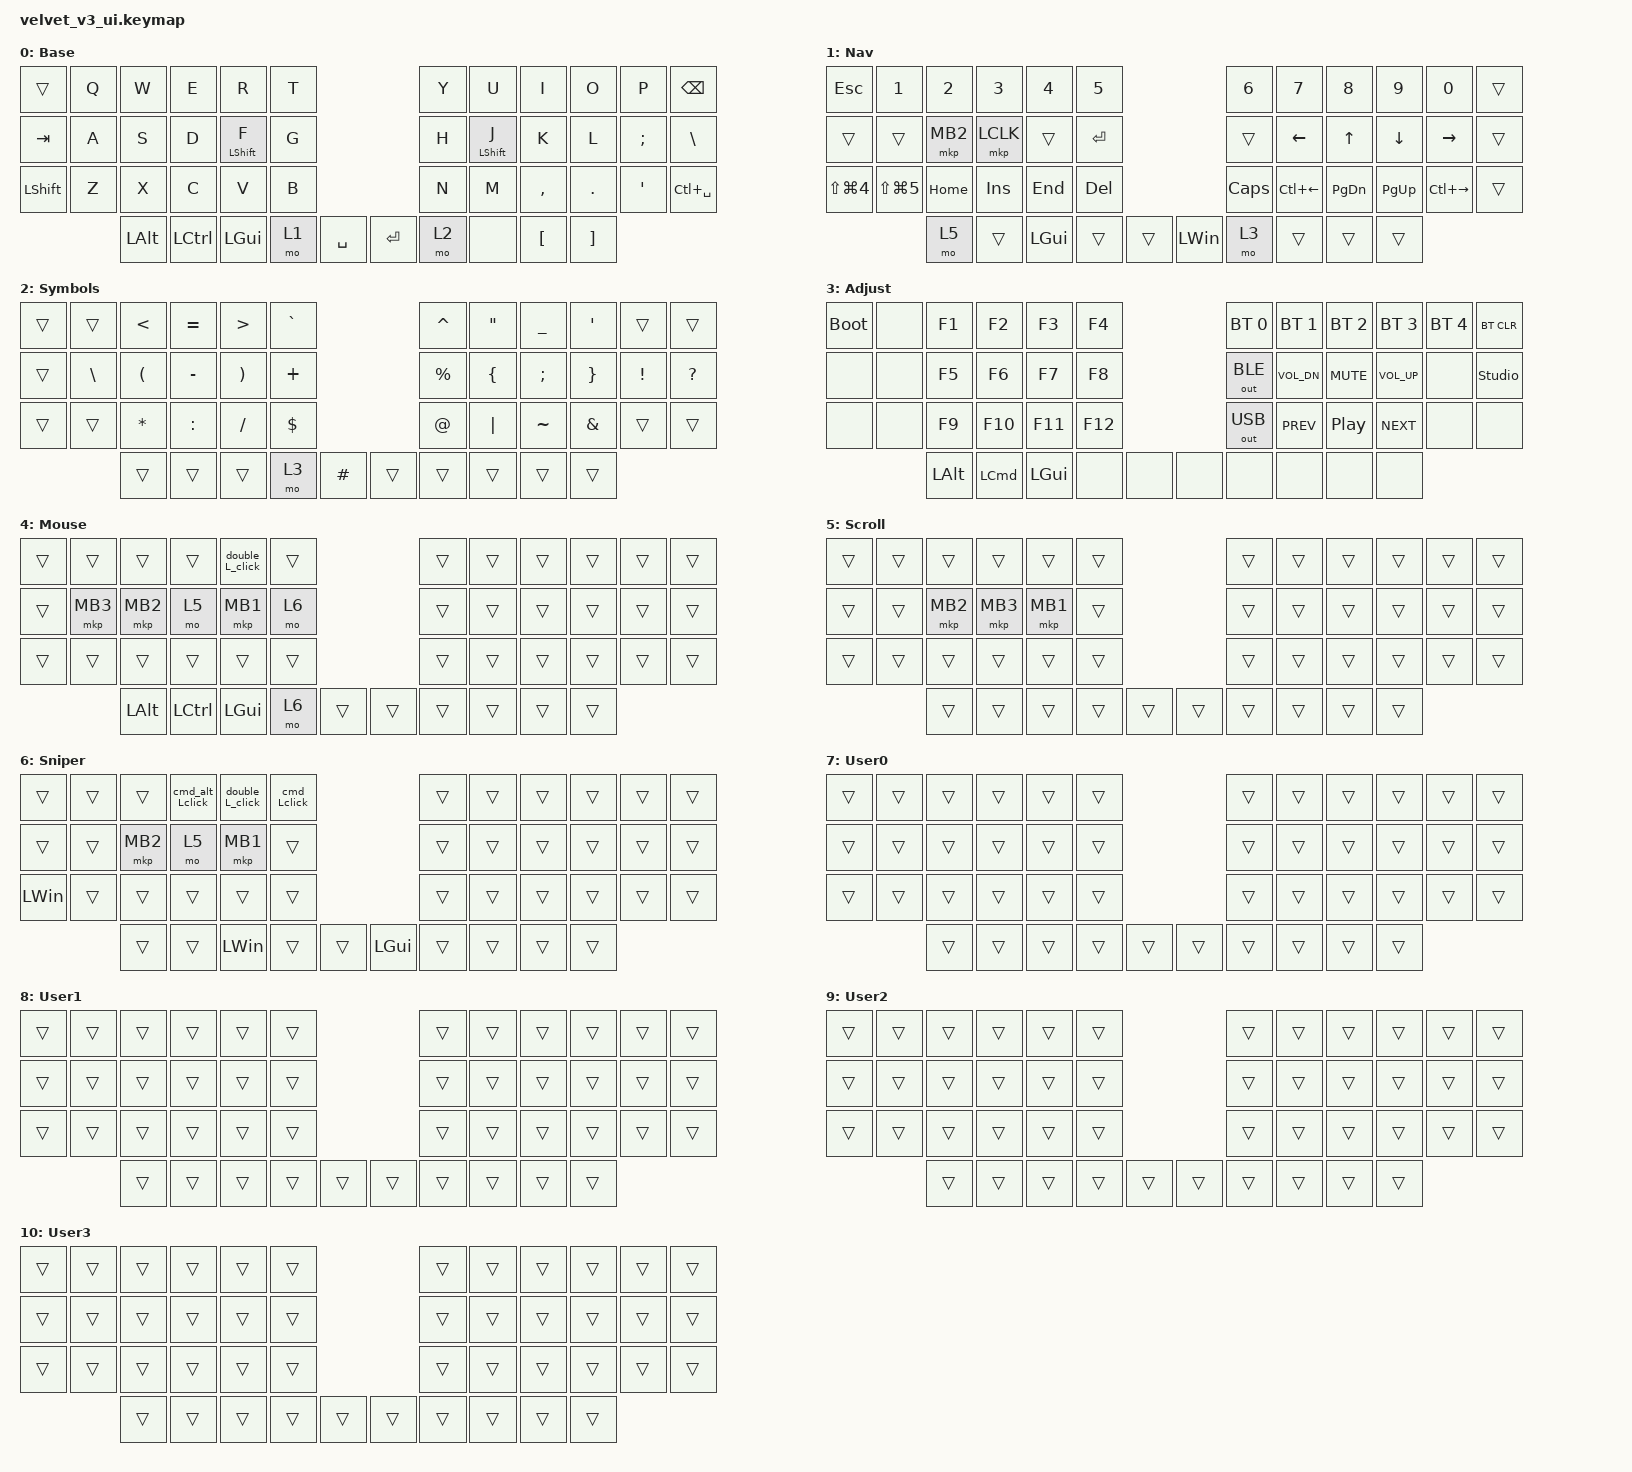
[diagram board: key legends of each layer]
#include "keys_ru.h"
#include <dt-bindings/zmk/input_transform.h>
#include <input/processors.dtsi>
#include <zephyr/dt-bindings/input/input-event-codes.h>
#include <behaviors.dtsi>
#include <dt-bindings/zmk/bt.h>
#include <dt-bindings/zmk/keys.h>
#include <dt-bindings/zmk/outputs.h>
#include <dt-bindings/zmk/pointing.h>

/ {
    behaviors {
        cap_sen: cap_sen {
            compatible = "zmk,behavior-hold-tap";
            label = "CAP_SEN";
            bindings = <&mo>, <&mkp>;

            #binding-cells = <2>;
            tapping-term-ms = <150>;
            hold-while-undecided;
        };

        mouse_layer: mouse_layer {
            compatible = "zmk,behavior-sticky-key";
            label = "MOUSE_LAYER";
            bindings = <&mo>;
            #binding-cells = <1>;
            release-after-ms = <250>;
        };

        zip_auto_mouse: zip_auto_mouse {
            compatible = "zmk,input-processor-temp-layer";
            #input-processor-cells = <2>;
            require-prior-idle-ms = <800>;
            excluded-positions = <>;
        };
    };

    macros {
        double_L_click: double_L_click {
            compatible = "zmk,behavior-macro";
            #binding-cells = <0>;
            bindings = <&mkp MB1 &mkp MB1>;
            label = "DOUBLE_L_CLICK";
        };

        cmd_alt_Lclick: cmd_alt_Lclick {
            compatible = "zmk,behavior-macro";
            #binding-cells = <0>;
            bindings = <&kp LA(LGUI) &mkp LCLK>;
            label = "CMD_ALT_LCLICK";
        };

        cmd_Lclick: cmd_Lclick {
            compatible = "zmk,behavior-macro";
            #binding-cells = <0>;
            bindings = <&kp LEFT_GUI &mkp LCLK>;
            label = "CMD_LCLICK";
        };
    };

    keymap {
        compatible = "zmk,keymap";

        base {
            bindings = <
&trans     &kp Q  &kp W     &kp E             &kp R         &kp T                        &kp Y  &kp U        &kp I      &kp O     &kp P     &kp BSPC
&kp TAB    &kp A  &kp S     &kp D             &mt LSHFT F   &kp G                        &kp H  &mt LSHFT J  &kp K      &kp L     &kp SEMI  &kp BSLH
&kp LSHFT  &kp Z  &kp X     &kp C             &kp V         &kp B                        &kp N  &kp M        &kp COMMA  &kp DOT   &kp SQT   &kp LC(SPACE)
                  &kp LALT  &kp LEFT_CONTROL  &kp LEFT_GUI  &mo 1  &kp SPACE    &kp RET  &mo 2  &none        &kp LBKT   &kp RBKT
            >;

            display-name = "Base";
        };

        nav {
            bindings = <
&kp ESC               &kp N1                &kp N2    &kp N3     &kp N4        &kp N5                           &kp N6    &kp N7        &kp N8         &kp N9          &kp N0         &trans
&trans                &trans                &mkp MB2  &mkp LCLK  &trans        &kp RET                          &trans    &kp LEFT      &kp UP_ARROW   &kp DOWN_ARROW  &kp RIGHT      &trans
&kp LS(LG(NUMBER_4))  &kp LS(LG(NUMBER_5))  &kp HOME  &kp INS    &kp END       &kp DEL                          &kp CLCK  &kp LC(LEFT)  &kp PAGE_DOWN  &kp PAGE_UP     &kp LC(RIGHT)  &trans
                                            &mo 5     &trans     &kp LEFT_GUI  &trans   &trans    &kp LEFT_WIN  &mo 3     &trans        &trans         &trans
            >;

            display-name = "Nav";
        };

        sym {
            bindings = <
&trans  &trans    &kp LT    &kp EQUAL  &kp GT    &kp GRAVE                      &kp CARET  &kp DQT   &kp UNDER  &kp SQT   &trans    &trans
&trans  &kp BSLH  &kp LPAR  &kp MINUS  &kp RPAR  &kp PLUS                       &kp PRCNT  &kp LBRC  &kp SEMI   &kp RBRC  &kp EXCL  &kp QUESTION
&trans  &trans    &kp STAR  &kp COLON  &kp FSLH  &kp DLLR                       &kp AT     &kp PIPE  &kp TILDE  &kp AMPS  &trans    &trans
                  &trans    &trans     &trans    &mo 3      &kp HASH    &trans  &trans     &trans    &trans     &trans
            >;

            display-name = "Symbols";
        };

        adj {
            bindings = <
&bootloader  &none  &kp F1    &kp F2    &kp F3        &kp F4                   &bt BT_SEL 0  &bt BT_SEL 1  &bt BT_SEL 2      &bt BT_SEL 3  &bt BT_SEL 4  &bt BT_CLR
&none        &none  &kp F5    &kp F6    &kp F7        &kp F8                   &out OUT_BLE  &kp C_VOL_DN  &kp C_MUTE        &kp C_VOL_UP  &none         &studio_unlock
&none        &none  &kp F9    &kp F10   &kp F11       &kp F12                  &out OUT_USB  &kp C_PREV    &kp C_PLAY_PAUSE  &kp C_NEXT    &none         &none
                    &kp LALT  &kp LCMD  &kp LEFT_GUI  &none    &none    &none  &none         &none         &none             &none
            >;

            display-name = "Adjust";
        };

        mouse {
            bindings = <
&trans  &trans    &trans        &trans     &double_L_click  &trans                    &trans  &trans  &trans  &trans  &trans  &trans
&trans  &mkp MB3  &mkp MB2      &mo 5      &mkp MB1         &mo 6                     &trans  &trans  &trans  &trans  &trans  &trans
&trans  &trans    &trans        &trans     &trans           &trans                    &trans  &trans  &trans  &trans  &trans  &trans
                  &kp LEFT_ALT  &kp LCTRL  &kp LEFT_GUI     &mo 6   &trans    &trans  &trans  &trans  &trans  &trans
            >;

            display-name = "Mouse";
        };

        scroll {
            bindings = <
&trans  &trans  &trans    &trans    &trans    &trans                    &trans  &trans  &trans  &trans  &trans  &trans
&trans  &trans  &mkp MB2  &mkp MB3  &mkp MB1  &trans                    &trans  &trans  &trans  &trans  &trans  &trans
&trans  &trans  &trans    &trans    &trans    &trans                    &trans  &trans  &trans  &trans  &trans  &trans
                &trans    &trans    &trans    &trans  &trans    &trans  &trans  &trans  &trans  &trans
            >;

            display-name = "Scroll";
        };

        sniper {
            bindings = <
&trans        &trans  &trans    &cmd_alt_Lclick  &double_L_click  &cmd_Lclick                          &trans  &trans  &trans  &trans  &trans  &trans
&trans        &trans  &mkp MB2  &mo 5            &mkp MB1         &trans                               &trans  &trans  &trans  &trans  &trans  &trans
&kp LEFT_WIN  &trans  &trans    &trans           &trans           &trans                               &trans  &trans  &trans  &trans  &trans  &trans
                      &trans    &trans           &kp LEFT_WIN     &trans       &trans    &kp LEFT_GUI  &trans  &trans  &trans  &trans
            >;

            display-name = "Sniper";
        };

        User0 {
            bindings = <
&trans  &trans  &trans  &trans  &trans  &trans                    &trans  &trans  &trans  &trans  &trans  &trans
&trans  &trans  &trans  &trans  &trans  &trans                    &trans  &trans  &trans  &trans  &trans  &trans
&trans  &trans  &trans  &trans  &trans  &trans                    &trans  &trans  &trans  &trans  &trans  &trans
                &trans  &trans  &trans  &trans  &trans    &trans  &trans  &trans  &trans  &trans
            >;

            display-name = "User0";
        };

        User1 {
            bindings = <
&trans  &trans  &trans  &trans  &trans  &trans                    &trans  &trans  &trans  &trans  &trans  &trans
&trans  &trans  &trans  &trans  &trans  &trans                    &trans  &trans  &trans  &trans  &trans  &trans
&trans  &trans  &trans  &trans  &trans  &trans                    &trans  &trans  &trans  &trans  &trans  &trans
                &trans  &trans  &trans  &trans  &trans    &trans  &trans  &trans  &trans  &trans
            >;

            display-name = "User1";
        };

        User2 {
            bindings = <
&trans  &trans  &trans  &trans  &trans  &trans                    &trans  &trans  &trans  &trans  &trans  &trans
&trans  &trans  &trans  &trans  &trans  &trans                    &trans  &trans  &trans  &trans  &trans  &trans
&trans  &trans  &trans  &trans  &trans  &trans                    &trans  &trans  &trans  &trans  &trans  &trans
                &trans  &trans  &trans  &trans  &trans    &trans  &trans  &trans  &trans  &trans
            >;

            display-name = "User2";
        };

        User3 {
            bindings = <
&trans  &trans  &trans  &trans  &trans  &trans                    &trans  &trans  &trans  &trans  &trans  &trans
&trans  &trans  &trans  &trans  &trans  &trans                    &trans  &trans  &trans  &trans  &trans  &trans
&trans  &trans  &trans  &trans  &trans  &trans                    &trans  &trans  &trans  &trans  &trans  &trans
                &trans  &trans  &trans  &trans  &trans    &trans  &trans  &trans  &trans  &trans
            >;

            display-name = "User3";
        };
    };
};

&trackball { cpi = <1000>; };

&trackball_listener {
    input-processors = <&zip_auto_mouse 4 500>, <&zip_xy_scaler 9 20>;

    scroller {
        layers = <5>;
        input-processors =
            <&zip_xy_transform INPUT_TRANSFORM_Y_INVERT>,
            <&zip_xy_scaler 1 32>,
            <&zip_xy_to_scroll_mapper>;
    };

    sniper {
        layers = <6>;
        input-processors = <&zip_xy_scaler 1 4>;
    };
};
